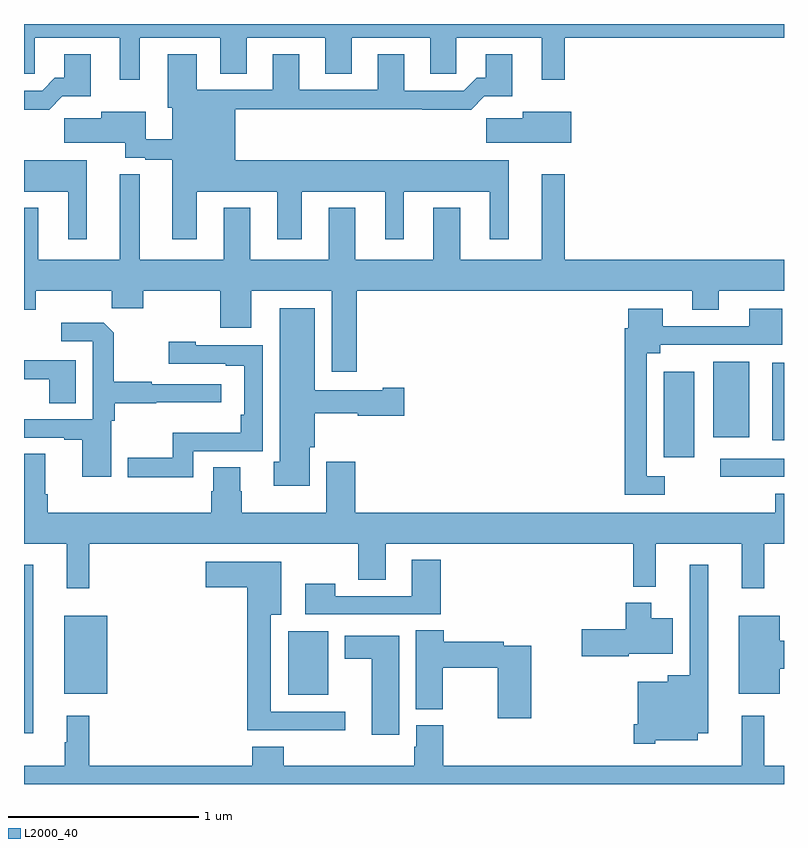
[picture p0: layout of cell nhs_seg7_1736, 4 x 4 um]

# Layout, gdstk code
import gdstk
lib = gdstk.Library(unit=1e-6, precision=1e-09)
def R(c, l, rs):  # rectangles x0, y0, x1, y1
    for r in rs: c.add(gdstk.rectangle(r[:2], r[2:], *l))
def P(c, l, *ps):  # polygons
    for p in ps: c.add(gdstk.Polygon(p, *l))
L2000_40 = (2000, 40)

nhs_seg7_1736 = lib.new_cell('nhs_seg7_1736')
R(nhs_seg7_1736, L2000_40, [(229,1018.268,229.048,1019.155), (230.39,1018.469,230.602,1018.804), (229.211,1018.475,229.438,1018.885), (232.665,1019.616,233,1019.712), (232.367,1019.721,232.528,1020.169), (232.937,1019.81,233,1020.217), (232.628,1019.825,232.816,1020.223)])
P(nhs_seg7_1736, L2000_40, [(229.609,1021.928),(230.033,1021.928),(230.033,1021.738),(230.173,1021.738),(230.173,1021.928),(230.585,1021.928),(230.585,1021.738),(230.725,1021.738),(230.725,1021.928),(231.137,1021.928),(231.137,1021.738),(231.276,1021.738),(231.276,1021.928),(231.725,1021.928),(231.725,1021.707),(231.847,1021.707),(231.847,1021.928),(233,1021.928),(233,1022),(229,1022),(229,1021.738),(229.056,1021.738),(229.056,1021.928),(229.505,1021.928),(229.505,1021.707),(229.609,1021.707)],
  [(229.909,1021.118),(230.333,1021.118),(230.333,1020.867),(230.461,1020.867),(230.461,1021.118),(230.9,1021.118),(230.9,1020.867),(230.998,1020.867),(230.998,1021.118),(231.452,1021.118),(231.452,1020.867),(231.55,1020.867),(231.55,1021.282),(230.113,1021.282),(230.113,1021.552),(231.097,1021.552),(231.097,1021.55),(231.353,1021.55),(231.422,1021.619),(231.571,1021.619),(231.571,1021.84),(231.431,1021.84),(231.431,1021.717),(231.382,1021.717),(231.315,1021.65),(231.001,1021.65),(231.001,1021.84),(230.861,1021.84),(230.861,1021.653),(230.449,1021.653),(230.449,1021.84),(230.309,1021.84),(230.309,1021.653),(229.909,1021.653),(229.909,1021.84),(229.757,1021.84),(229.757,1021.56),(229.781,1021.56),(229.781,1021.393),(229.642,1021.393),(229.642,1021.537),(229.406,1021.537),(229.406,1021.505),(229.212,1021.505),(229.212,1021.376),(229.532,1021.376),(229.532,1021.296),(229.638,1021.296),(229.638,1021.285),(229.781,1021.285),(229.781,1020.867),(229.909,1020.867)],
  [(229.202,1021.619),(229.351,1021.619),(229.351,1021.84),(229.211,1021.84),(229.211,1021.717),(229.162,1021.717),(229.095,1021.65),(229,1021.65),(229,1021.55),(229.133,1021.55)],
  [(231.88,1021.537),(231.626,1021.537),(231.626,1021.505),(231.432,1021.505),(231.432,1021.376),(231.88,1021.376)],
  [(229.33,1021.282),(229,1021.282),(229,1021.118),(229.232,1021.118),(229.232,1020.867),(229.33,1020.867)],
  [(231.725,1021.21),(231.725,1020.76),(231.295,1020.76),(231.295,1021.033),(231.155,1021.033),(231.155,1020.76),(230.743,1020.76),(230.743,1021.033),(230.603,1021.033),(230.603,1020.76),(230.191,1020.76),(230.191,1021.033),(230.051,1021.033),(230.051,1020.76),(229.609,1020.76),(229.609,1021.097),(229.608,1021.097),(229.608,1021.21),(229.505,1021.21),(229.505,1020.76),(229.075,1020.76),(229.075,1021.033),(229,1021.033),(229,1020.497),(229.063,1020.497),(229.063,1020.596),(229.463,1020.596),(229.463,1020.503),(229.627,1020.503),(229.627,1020.596),(230.033,1020.596),(230.033,1020.402),(230.197,1020.402),(230.197,1020.596),(230.621,1020.596),(230.621,1020.171),(230.75,1020.171),(230.75,1020.596),(232.517,1020.596),(232.517,1020.497),(232.657,1020.497),(232.657,1020.596),(233,1020.596),(233,1020.76),(231.847,1020.76),(231.847,1021.21)],
  [(230.503,1019.772),(230.53,1019.772),(230.53,1019.951),(230.757,1019.951),(230.757,1019.939),(231.001,1019.939),(231.001,1020.086),(230.888,1020.086),(230.888,1020.073),(230.53,1020.073),(230.53,1020.505),(230.345,1020.505),(230.345,1019.696),(230.315,1019.696),(230.315,1019.57),(230.503,1019.57)],
  [(232.372,1019.619),(232.278,1019.619),(232.278,1020.266),(232.348,1020.266),(232.348,1020.312),(232.99,1020.312),(232.99,1020.502),(232.817,1020.502),(232.817,1020.408),(232.363,1020.408),(232.363,1020.502),(232.181,1020.502),(232.181,1020.398),(232.162,1020.398),(232.162,1019.523),(232.372,1019.523)],
  [(229.458,1019.912),(229.478,1019.912),(229.478,1020.004),(229.697,1020.004),(229.697,1020.008),(230.038,1020.008),(230.038,1020.105),(229.673,1020.105),(229.673,1020.118),(229.473,1020.118),(229.473,1020.375),(229.421,1020.427),(229.197,1020.427),(229.197,1020.33),(229.362,1020.33),(229.362,1019.919),(229,1019.919),(229,1019.823),(229.211,1019.823),(229.211,1019.811),(229.307,1019.811),(229.307,1019.616),(229.458,1019.616)],
  [(229.89,1019.751),(230.256,1019.751),(230.256,1020.309),(229.905,1020.309),(229.905,1020.328),(229.761,1020.328),(229.761,1020.213),(230.063,1020.213),(230.063,1020.201),(230.16,1020.201),(230.16,1019.944),(230.14,1019.944),(230.14,1019.848),(229.782,1019.848),(229.782,1019.717),(229.545,1019.717),(229.545,1019.615),(229.89,1019.615)],
  [(229.273,1020.23),(229,1020.23),(229,1020.129),(229.133,1020.129),(229.133,1020.004),(229.273,1020.004)],
  [(229.343,1019.264),(230.758,1019.264),(230.758,1019.074),(230.905,1019.074),(230.905,1019.264),(232.207,1019.264),(232.207,1019.039),(232.325,1019.039),(232.325,1019.264),(232.778,1019.264),(232.778,1019.031),(232.895,1019.031),(232.895,1019.264),(233,1019.264),(233,1019.527),(232.955,1019.527),(232.955,1019.428),(230.744,1019.428),(230.744,1019.695),(230.591,1019.695),(230.591,1019.428),(230.145,1019.428),(230.145,1019.541),(230.137,1019.541),(230.137,1019.666),(229.997,1019.666),(229.997,1019.541),(229.985,1019.541),(229.985,1019.428),(229.124,1019.428),(229.124,1019.524),(229.111,1019.524),(229.111,1019.738),(229,1019.738),(229,1019.264),(229.226,1019.264),(229.226,1019.031),(229.343,1019.031)],
  [(231.194,1019.179),(231.041,1019.179),(231.041,1018.989),(230.637,1018.989),(230.637,1019.053),(230.481,1019.053),(230.481,1018.893),(231.194,1018.893)],
  [(230.692,1018.38),(230.299,1018.38),(230.299,1018.892),(230.353,1018.892),(230.353,1019.17),(229.956,1019.17),(229.956,1019.036),(230.174,1019.036),(230.174,1018.283),(230.692,1018.283)],
  [(232.323,1018.229),(232.546,1018.229),(232.546,1018.268),(232.6,1018.268),(232.6,1019.155),(232.503,1019.155),(232.503,1018.573),(232.388,1018.573),(232.388,1018.537),(232.229,1018.537),(232.229,1018.315),(232.208,1018.315),(232.208,1018.211),(232.323,1018.211)],
  [(232.182,1018.685),(232.414,1018.685),(232.414,1018.873),(232.3,1018.873),(232.3,1018.954),(232.166,1018.954),(232.166,1018.815),(231.936,1018.815),(231.936,1018.673),(232.182,1018.673)],
  [(232.978,1018.607),(233,1018.607),(233,1018.754),(232.978,1018.754),(232.978,1018.885),(232.763,1018.885),(232.763,1018.475),(232.978,1018.475)],
  [(231.671,1018.728),(231.524,1018.728),(231.524,1018.748),(231.209,1018.748),(231.209,1018.808),(231.062,1018.808),(231.062,1018.393),(231.204,1018.393),(231.204,1018.612),(231.493,1018.612),(231.493,1018.347),(231.671,1018.347)],
  [(230.974,1018.78),(230.687,1018.78),(230.687,1018.658),(230.831,1018.658),(230.831,1018.26),(230.974,1018.26)],
  [(233,1018.096),(232.895,1018.096),(232.895,1018.36),(232.777,1018.36),(232.777,1018.096),(231.206,1018.096),(231.206,1018.308),(231.065,1018.308),(231.065,1018.197),(231.053,1018.197),(231.053,1018.096),(230.366,1018.096),(230.366,1018.195),(230.201,1018.195),(230.201,1018.096),(229.343,1018.096),(229.343,1018.36),(229.226,1018.36),(229.226,1018.22),(229.215,1018.22),(229.215,1018.096),(229,1018.096),(229,1018),(233,1018)])

lib.write_gds('nhs_seg7_1736.gds')
